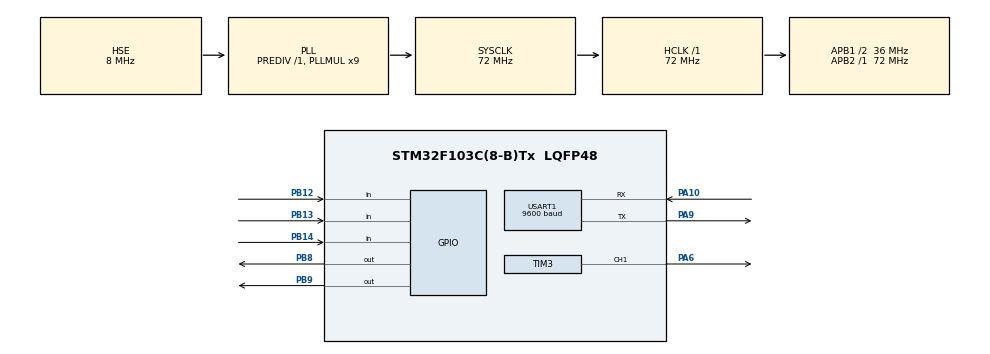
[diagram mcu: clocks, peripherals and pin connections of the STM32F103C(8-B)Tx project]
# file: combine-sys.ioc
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Dma.Request0=TIM3_CH1/TRIG
Dma.Request1=USART1_RX
Dma.Request2=USART1_TX
Dma.TIM3_CH1/TRIG.0.Direction=DMA_MEMORY_TO_PERIPH
Dma.TIM3_CH1/TRIG.0.Instance=DMA1_Channel6
Dma.TIM3_CH1/TRIG.0.MemDataAlignment=DMA_MDATAALIGN_HALFWORD
Dma.TIM3_CH1/TRIG.0.MemInc=DMA_MINC_ENABLE
Dma.TIM3_CH1/TRIG.0.Mode=DMA_NORMAL
Dma.TIM3_CH1/TRIG.0.PeriphDataAlignment=DMA_PDATAALIGN_HALFWORD
Dma.TIM3_CH1/TRIG.0.PeriphInc=DMA_PINC_DISABLE
Dma.TIM3_CH1/TRIG.0.Priority=DMA_PRIORITY_HIGH
Dma.USART1_RX.1.Direction=DMA_PERIPH_TO_MEMORY
Dma.USART1_RX.1.Instance=DMA1_Channel5
Dma.USART1_RX.1.MemDataAlignment=DMA_MDATAALIGN_BYTE
Dma.USART1_RX.1.MemInc=DMA_MINC_ENABLE
Dma.USART1_RX.1.Mode=DMA_NORMAL
Dma.USART1_RX.1.PeriphDataAlignment=DMA_PDATAALIGN_BYTE
Dma.USART1_RX.1.PeriphInc=DMA_PINC_DISABLE
Dma.USART1_RX.1.Priority=DMA_PRIORITY_LOW
Dma.USART1_TX.2.Direction=DMA_MEMORY_TO_PERIPH
Dma.USART1_TX.2.Instance=DMA1_Channel4
Dma.USART1_TX.2.MemDataAlignment=DMA_MDATAALIGN_BYTE
Dma.USART1_TX.2.MemInc=DMA_MINC_ENABLE
Dma.USART1_TX.2.Mode=DMA_NORMAL
Dma.USART1_TX.2.PeriphDataAlignment=DMA_PDATAALIGN_BYTE
Dma.USART1_TX.2.PeriphInc=DMA_PINC_DISABLE
Dma.USART1_TX.2.Priority=DMA_PRIORITY_LOW
Mcu.Family=STM32F1
Mcu.Name=STM32F103C(8-B)Tx
Mcu.Package=LQFP48
NVIC.DMA1_Channel4_IRQn=true\:0\:0\:false\:false\:true\:false\:true\:true
NVIC.DMA1_Channel5_IRQn=true\:0\:0\:false\:false\:true\:false\:true\:true
NVIC.DMA1_Channel6_IRQn=true\:0\:0\:false\:false\:true\:false\:true\:true
NVIC.PriorityGroup=NVIC_PRIORITYGROUP_4
NVIC.USART1_IRQn=true\:0\:0\:false\:false\:true\:true\:true\:true
PA10.Mode=Asynchronous
PA10.Signal=USART1_RX
PA13.Mode=Serial_Wire
PA13.Signal=SYS_JTMS-SWDIO
PA14.Mode=Serial_Wire
PA14.Signal=SYS_JTCK-SWCLK
PA6.Signal=S_TIM3_CH1
PA9.Mode=Asynchronous
PA9.Signal=USART1_TX
PB12.GPIO_PuPd=GPIO_PULLUP
PB12.Signal=GPIO_Input
PB13.GPIO_PuPd=GPIO_PULLUP
PB13.Signal=GPIO_Input
PB14.GPIO_PuPd=GPIO_PULLUP
PB14.Signal=GPIO_Input
PB8.GPIO_ModeDefaultOutputPP=GPIO_MODE_OUTPUT_OD
PB8.GPIO_PuPd=GPIO_NOPULL
PB8.GPIO_Speed=GPIO_SPEED_FREQ_MEDIUM
PB8.PinState=GPIO_PIN_RESET
PB8.Signal=GPIO_Output
PB9.GPIO_ModeDefaultOutputPP=GPIO_MODE_OUTPUT_OD
PB9.GPIO_PuPd=GPIO_NOPULL
PB9.GPIO_Speed=GPIO_SPEED_FREQ_MEDIUM
PB9.Signal=GPIO_Output
PD0-OSC_IN.Mode=HSE-External-Oscillator
PD0-OSC_IN.Signal=RCC_OSC_IN
PD1-OSC_OUT.Mode=HSE-External-Oscillator
PD1-OSC_OUT.Signal=RCC_OSC_OUT
ProjectManager.HeapSize=0x200
ProjectManager.StackSize=0x400
ProjectManager.TargetToolchain=Makefile
RCC.AHBFreq_Value=72000000
RCC.APB1CLKDivider=RCC_HCLK_DIV2
RCC.APB1Freq_Value=36000000
RCC.APB1TimFreq_Value=72000000
RCC.APB2Freq_Value=72000000
RCC.APB2TimFreq_Value=72000000
RCC.HCLKFreq_Value=72000000
RCC.PLLMUL=RCC_PLL_MUL9
RCC.PLLSourceVirtual=RCC_PLLSOURCE_HSE
RCC.SYSCLKFreq_VALUE=72000000
RCC.SYSCLKSource=RCC_SYSCLKSOURCE_PLLCLK
RCC.USBFreq_Value=72000000
SH.S_TIM3_CH1.0=TIM3_CH1,PWM Generation1 CH1
TIM3.Channel-PWM\ Generation1\ CH1=TIM_CHANNEL_1
TIM3.Period=89
USART1.BaudRate=9600
USART1.VirtualMode=VM_ASYNC
VP_TIM3_VS_ClockSourceINT.Mode=Internal
board=custom

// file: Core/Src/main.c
/* USER CODE BEGIN Header */
/**
  ******************************************************************************
  * @file           : main.c
  * @brief          : Main program body
  ******************************************************************************
  * @attention
  *
  * Copyright (c) 2024 STMicroelectronics.
  * All rights reserved.
  *
  * This software is licensed under terms that can be found in the LICENSE file
  * in the root directory of this software component.
  * If no LICENSE file comes with this software, it is provided AS-IS.
  *
  ******************************************************************************
  */
/* USER CODE END Header */
#include "main.h"
#include "dma.h"
#include "tim.h"
#include "usart.h"
#include "gpio.h"

/* USER CODE BEGIN Includes */
#include "OLED.h"
#include "screen.h"
#include "key.h"
#include "ws281x.h"
#include "dot_screen.h"
#include <string.h>
/* USER CODE END Includes */

void SystemClock_Config(void);

/* USER CODE BEGIN 0 */
uint8_t KeyNum;

int Len(char *array[])
{
  size_t totalLength = 0;

  for (int i = 0; i < sizeof(&array) / sizeof(array[0]); i++) {
    totalLength += strlen(array[i]);
  }

  return totalLength;
}

/* USER CODE END 0 */

int main(void)
{

  /* USER CODE BEGIN 1 */
  int CurrentPage = 1;
  int pageIndex = 1;
  int checked = 0;
  unsigned char ch[20] = {0};
  /* USER CODE END 1 */

  /* MCU Configuration--------------------------------------------------------*/

  /* Reset of all peripherals, Initializes the Flash interface and the Systick. */
  HAL_Init();

  /* USER CODE BEGIN Init */
  OLED_Init();
  /* USER CODE END Init */

  /* Configure the system clock */
  SystemClock_Config();

  /* Initialize all configured peripherals */
  MX_GPIO_Init();
  MX_DMA_Init();
  MX_TIM3_Init();
  MX_USART1_UART_Init();
  /* USER CODE BEGIN 2 */
  Show_Portal();
  uint8_t byteNumber = 0x5a;
  char *str = "IT SEND\r\n";
  HAL_UART_Transmit(&huart1, &byteNumber, 1, HAL_MAX_DELAY);
  HAL_UART_Transmit(&huart1, (const uint8_t *)str, strlen(str), HAL_MAX_DELAY);
  /* USER CODE END 2 */

  /* Infinite loop */
  while (1)
  {

    /* USER CODE BEGIN 3 */
    HAL_UART_Receive(&huart1, ch, 20, 100);
    HAL_UART_Transmit(&huart1, ch, strlen((const char *)ch), 100);
    if (!strcmp((const char *)ch, "open"))
    {
      HAL_UART_Transmit(&huart1, (const uint8_t *)"LED ON\r\n", strlen((const char *)"LED ON\r\n"), HAL_MAX_DELAY);
    }
    memset(ch, 0, strlen((const char *)ch));

    KeyNum = Key_GetNum();
    if (checked == 1)
    {
      Show_Page(CurrentPage);
      checked = 0;
    }

    // 首页，监控页面
    if (CurrentPage == PORTAL)
    {
      if (KeyNum == 1)
      {
        KeyNum = 0;
        CurrentPage = MENU;
        checked = 1;
      }
    }

    // 菜单页面
    if (CurrentPage == MENU)
    {
      OLED_ShowString(pageIndex, 13, "x");
      if (KeyNum == 1)
      {
        CurrentPage = Select_Menu(pageIndex);
        checked = 1;
      }

      if (KeyNum == 2)
      {
        if (pageIndex > 1)
        {
          pageIndex -= 1;
        } else {
          pageIndex = 1;
        }
        OLED_ShowString(pageIndex+1, 13, " ");
      }
      if (KeyNum == 3)
      {
        OLED_ShowString(pageIndex, 13, " ");
        if (pageIndex < 5)
        {
          pageIndex += 1;
        } else {
          pageIndex = 4;
        }
      }
    }

    // 开关状态页面
    if (CurrentPage == StatusMenu)
    {
      OLED_ShowString(pageIndex, 13, "x");
      if (KeyNum == 1)
      {
        Set_DotScreen_Status(pageIndex);
        checked = 1;
      }

      if (KeyNum == 2)
      {
        OLED_ShowString(pageIndex, 13, " ");
        pageIndex = 1;
      }
      if (KeyNum == 3)
      {
        OLED_ShowString(pageIndex, 13, " ");
        pageIndex = 2;
      }

    }

    // 模式页面
    if (CurrentPage == MODE)
    {

    }

  }
  /* USER CODE END 3 */
}

void SystemClock_Config(void)
{
  RCC_OscInitTypeDef RCC_OscInitStruct = {0};
  RCC_ClkInitTypeDef RCC_ClkInitStruct = {0};

  /** Initializes the RCC Oscillators according to the specified parameters
  * in the RCC_OscInitTypeDef structure.
  */
  RCC_OscInitStruct.OscillatorType = RCC_OSCILLATORTYPE_HSE;
  RCC_OscInitStruct.HSEState = RCC_HSE_ON;
  RCC_OscInitStruct.HSEPredivValue = RCC_HSE_PREDIV_DIV1;
  RCC_OscInitStruct.HSIState = RCC_HSI_ON;
  RCC_OscInitStruct.PLL.PLLState = RCC_PLL_ON;
  RCC_OscInitStruct.PLL.PLLSource = RCC_PLLSOURCE_HSE;
  RCC_OscInitStruct.PLL.PLLMUL = RCC_PLL_MUL9;
  if (HAL_RCC_OscConfig(&RCC_OscInitStruct) != HAL_OK)
  {
    Error_Handler();
  }

  /** Initializes the CPU, AHB and APB buses clocks
  */
  RCC_ClkInitStruct.ClockType = RCC_CLOCKTYPE_HCLK|RCC_CLOCKTYPE_SYSCLK
                              |RCC_CLOCKTYPE_PCLK1|RCC_CLOCKTYPE_PCLK2;
  RCC_ClkInitStruct.SYSCLKSource = RCC_SYSCLKSOURCE_PLLCLK;
  RCC_ClkInitStruct.AHBCLKDivider = RCC_SYSCLK_DIV1;
  RCC_ClkInitStruct.APB1CLKDivider = RCC_HCLK_DIV2;
  RCC_ClkInitStruct.APB2CLKDivider = RCC_HCLK_DIV1;

  if (HAL_RCC_ClockConfig(&RCC_ClkInitStruct, FLASH_LATENCY_2) != HAL_OK)
  {
    Error_Handler();
  }
}

void Error_Handler(void)
{
  __disable_irq();
  while (1)
  {
  }
}
